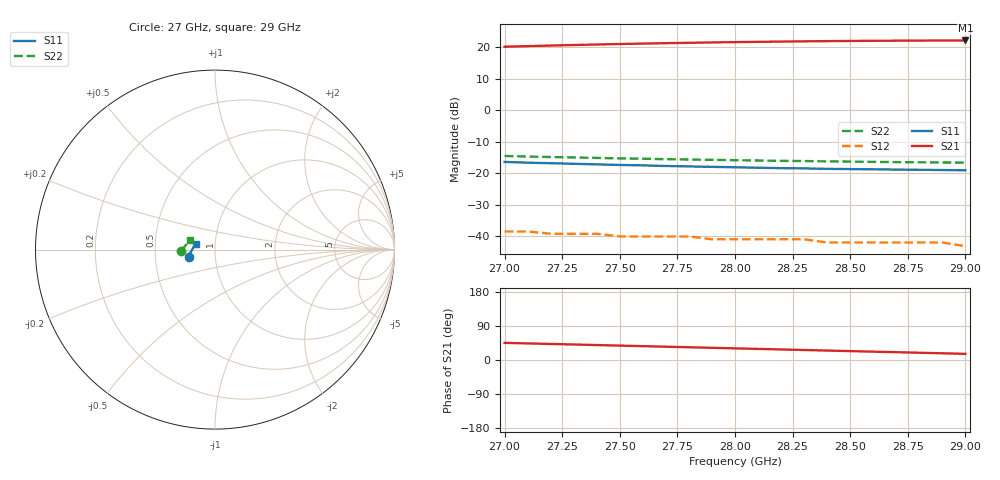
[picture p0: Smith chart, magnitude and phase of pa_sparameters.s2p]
! mmWave Power Amplifier S-Parameters
! Measured at Vds=28V, Ids=100mA
! Frequency Range: 27-29 GHz
! Date: December 2024
! Reference: 50 Ohms
# GHz S MA R 50
! Freq(GHz)  |S11|  Ang(S11)  |S21|  Ang(S21)  |S12|  Ang(S12)  |S22|  Ang(S22)
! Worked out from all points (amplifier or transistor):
!   21 points, 27 GHz to 29 GHz, reference 50 ohm
!   highest |S21| = 22.2 dB at 29 GHz (marker M1)
!   |S21| within 3 dB of that: start of sweep to end of sweep
!   unconditionally stable (mu >= 1): start of sweep to end of sweep
!   at 27.3 GHz: K = 4.00, MAG = 21.0 dB, |S12| = -39.2 dB
!   at 28 GHz: K = 4.44, MAG = 21.9 dB, |S12| = -40.9 dB
!   at 29 GHz: K = 5.40, MAG = 22.3 dB, |S12| = -43.1 dB
27  0.152 -165.3  10.23 45.2  0.012 -89.5  0.189 -178.2
27.1  0.148 -167.1  10.46 43.8  0.012 -90.1  0.185 -179.5
27.2  0.145 -168.8  10.68 42.3  0.011 -90.8  0.182 179.3
27.3  0.142 -170.5  10.89 40.9  0.011 -91.4  0.179 178.1
27.4  0.139 -172.2  11.1 39.4  0.011 -92.0  0.176 176.9
27.5  0.136 -173.9  11.29 38.0  0.01 -92.6  0.173 175.7
27.6  0.134 -175.5  11.47 36.5  0.01 -93.2  0.171 174.5
27.7  0.131 -177.1  11.65 35.1  0.01 -93.8  0.168 173.3
27.8  0.129 -178.7  11.81 33.6  0.01 -94.4  0.166 172.1
27.9  0.127 179.7  11.96 32.2  0.009 -95.0  0.164 170.9
28  0.125 178.2  12.1 30.7  0.009 -95.6  0.162 169.7
28.1  0.123 176.7  12.23 29.3  0.009 -96.2  0.16 168.5
28.2  0.121 175.2  12.35 27.8  0.009 -96.8  0.158 167.3
28.3  0.12 173.7  12.46 26.4  0.009 -97.4  0.157 166.1
28.4  0.118 172.2  12.55 24.9  0.008 -98.0  0.155 164.9
28.5  0.117 170.7  12.63 23.5  0.008 -98.6  0.154 163.7
28.6  0.116 169.3  12.7 22.0  0.008 -99.2  0.152 162.5
28.7  0.115 167.8  12.76 20.6  0.008 -99.8  0.151 161.3
28.8  0.114 166.4  12.81 19.1  0.008 -100.4  0.15 160.1
28.9  0.113 165.0  12.84 17.7  0.008 -101.0  0.149 158.9
29  0.112 163.6  12.86 16.2  0.007 -101.6  0.148 157.7
